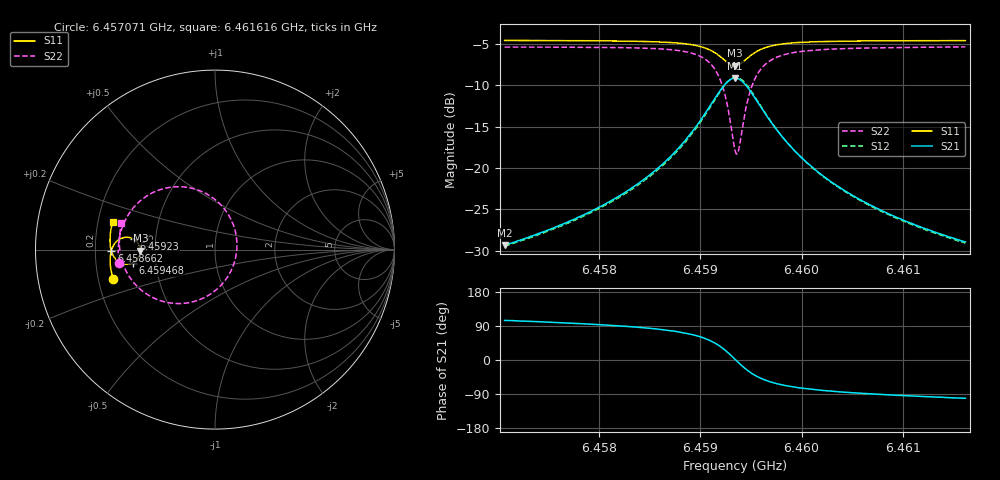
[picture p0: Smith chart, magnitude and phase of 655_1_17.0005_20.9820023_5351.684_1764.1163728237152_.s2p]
#  HZ  S  RI  R  50.00
! Rohde & Schwarz Vector Network Analyzer
! Rohde-Schwarz,ZNB20-2Port,1311601062101988,3.16
! Created: UTC 3/20/2024, 11:21:24 PM
! freq[Hz]  re:S11  im:S11  re:S21  im:S21  re:S12  im:S12  re:S22  im:S22
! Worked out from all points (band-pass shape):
!   401 points, 6.457071 GHz to 6.461616 GHz, reference 50 ohm
!   highest |S21| = -9.11 dB at 6.459343 GHz (marker M1); lowest = -29.3 dB at 6.457071 GHz (marker M2)
!   |S21| within 3 dB of the highest: 6.459117 GHz to 6.459572 GHz (454.6 kHz wide, 0.00704 % of centre)
!   lowest |S11| = -7.6 dB at 6.459343 GHz (marker M3), VSWR 2.42, Z = 20.6 - j0.297 ohm
!   |S11| at or under -10 dB: nowhere
!   |S22| runs from -18.3 to -5.3 dB; largest |S21 - S12| = 0.014
!   S11 on the Smith chart (normalised r, x): 6.457071 GHz: 0.26, -0.13; 6.458662 GHz: 0.27, -0.00; 6.45923 GHz: 0.38, +0.05; 6.459468 GHz: 0.37, -0.07; 6.461616 GHz: 0.26, +0.12
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6.4570707e9  -0.5687 -0.1651  -0.00846 0.0331  -0.00681 0.0329  -0.5345 -0.0764
6.4578321e9  -0.5819 -0.098  -0.00504 0.0512  -0.00243 0.0505  -0.5385 0.0138
6.4582412e9  -0.5842 -0.0569  0.000938 0.0701  0.00417 0.0686  -0.5298 0.079
6.4585935e9  -0.5799 -0.0147  0.0154 0.0999  0.0195 0.097  -0.5026 0.159
6.4586616e9  -0.5774 -0.00514  0.0209 0.1082  0.025 0.1049  -0.4924 0.179
6.4588548e9  -0.5645 0.0252  0.048 0.1393  0.0522 0.134  -0.4413 0.2484
6.4590026e9  -0.5415 0.0513  0.094 0.1697  0.0971 0.1628  -0.3564 0.3126
6.4591389e9  -0.4971 0.0687  0.1821 0.186  0.1828 0.1784  -0.1949 0.3502
6.4592298e9  -0.4522 0.0581  0.2729 0.1539  0.2729 0.1481  -0.0268 0.2985
6.459298e9  -0.4229 0.0255  0.3338 0.0811  0.3359 0.0758  0.0898 0.1669
6.4593435e9  -0.4158 -0.00596  0.3502 0.0121  0.3541 0.00521  0.1222 0.0377
6.4593776e9  -0.4199 -0.0301  0.3443 -0.0411  0.3483 -0.0503  0.1104 -0.0633
6.459423e9  -0.4357 -0.0565  0.315 -0.1018  0.3174 -0.1139  0.0512 -0.1787
6.4594685e9  -0.4582 -0.0731  0.2721 -0.1435  0.2714 -0.1568  -0.0357 -0.2545
6.4595594e9  -0.5022 -0.08  0.1856 -0.1746  0.1794 -0.1864  -0.2085 -0.3005
6.4596276e9  -0.5267 -0.0727  0.1364 -0.1723  0.1282 -0.1814  -0.3037 -0.2846
6.4597071e9  -0.5467 -0.0594  0.0964 -0.1599  0.0877 -0.1661  -0.3788 -0.249
6.4598662e9  -0.5683 -0.0314  0.051 -0.1311  0.0432 -0.1338  -0.46 -0.1751
6.4601048e9  -0.5809 0.00424  0.0217 -0.0989  0.0158 -0.0993  -0.508 -0.0911
6.4604458e9  -0.5854 0.0452  0.00571 -0.0713  0.00167 -0.0709  -0.5291 -0.011
6.4608662e9  -0.5831 0.0876  -0.00174 -0.0525  -0.00475 -0.0516  -0.5328 0.0573
6.4616162e9  -0.5706 0.1542  -0.00675 -0.035  -0.00856 -0.034  -0.521 0.1468
